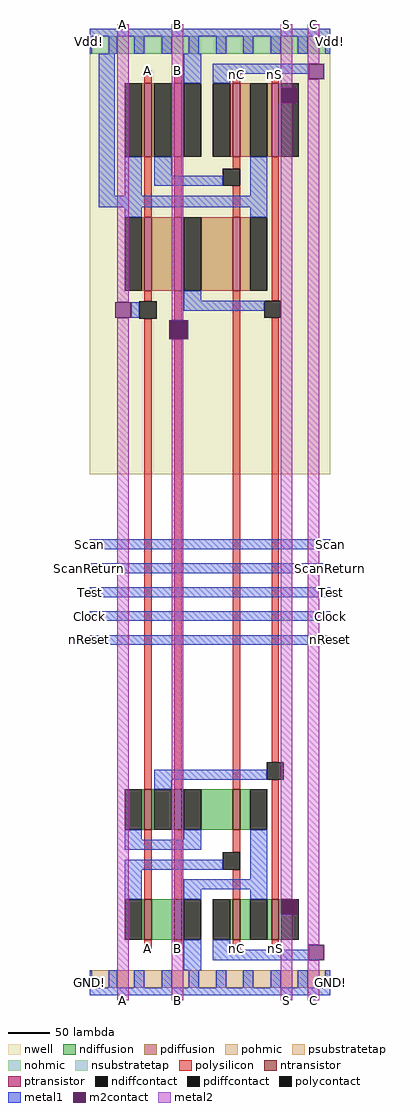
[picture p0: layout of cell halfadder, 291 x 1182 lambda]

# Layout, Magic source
magic
tech tsmc180
<< nwell >>
rect 0 637 291 1176
<< polysilicon >>
rect 66 1110 75 1126
rect 102 1110 111 1126
rect 173 1110 182 1121
rect 220 1110 229 1121
rect 66 948 75 1021
rect 102 948 111 1021
rect 173 1007 182 1021
rect 173 948 182 986
rect 66 846 75 859
rect 66 255 75 825
rect 102 823 111 859
rect 102 255 111 800
rect 173 255 182 859
rect 220 847 229 1021
rect 220 288 229 826
rect 66 122 75 206
rect 102 122 111 206
rect 173 179 182 206
rect 173 122 182 158
rect 220 122 229 267
rect 66 62 75 73
rect 102 62 111 73
rect 173 62 182 73
rect 220 62 229 73
<< ndiffusion >>
rect 63 206 66 255
rect 75 206 78 255
rect 99 206 102 255
rect 111 206 114 255
rect 135 206 173 255
rect 182 206 194 255
rect 63 73 66 122
rect 75 73 102 122
rect 111 73 114 122
rect 170 73 173 122
rect 182 73 194 122
rect 215 73 220 122
rect 229 73 232 122
<< pdiffusion >>
rect 63 1021 66 1110
rect 75 1021 78 1110
rect 99 1021 102 1110
rect 111 1021 114 1110
rect 170 1021 173 1110
rect 182 1021 194 1110
rect 215 1021 220 1110
rect 229 1021 232 1110
rect 63 859 66 948
rect 75 859 102 948
rect 111 859 114 948
rect 135 859 173 948
rect 182 859 194 948
<< pohmic >>
rect 0 15 2 36
rect 23 15 33 36
rect 54 15 66 36
rect 87 15 99 36
rect 120 15 132 36
rect 153 15 165 36
rect 186 15 198 36
rect 219 15 231 36
rect 252 15 264 36
rect 285 15 291 36
<< nohmic >>
rect 0 1146 2 1167
rect 23 1146 33 1167
rect 54 1146 66 1167
rect 87 1146 99 1167
rect 120 1146 132 1167
rect 153 1146 165 1167
rect 186 1146 198 1167
rect 219 1146 231 1167
rect 252 1146 264 1167
rect 285 1146 291 1167
<< ntransistor >>
rect 66 206 75 255
rect 102 206 111 255
rect 173 206 182 255
rect 66 73 75 122
rect 102 73 111 122
rect 173 73 182 122
rect 220 73 229 122
<< ptransistor >>
rect 66 1021 75 1110
rect 102 1021 111 1110
rect 173 1021 182 1110
rect 220 1021 229 1110
rect 66 859 75 948
rect 102 859 111 948
rect 173 859 182 948
<< polycontact >>
rect 161 986 182 1007
rect 60 825 81 846
rect 96 800 119 823
rect 211 826 232 847
rect 214 267 235 288
rect 161 158 182 179
<< ndiffcontact >>
rect 42 206 63 255
rect 78 206 99 255
rect 114 206 135 255
rect 194 206 215 255
rect 42 73 63 122
rect 114 73 135 122
rect 149 73 170 122
rect 194 73 215 122
rect 232 73 253 122
<< pdiffcontact >>
rect 42 1021 63 1110
rect 78 1021 99 1110
rect 114 1021 135 1110
rect 149 1021 170 1110
rect 194 1021 215 1110
rect 232 1021 253 1110
rect 42 859 63 948
rect 114 859 135 948
rect 194 859 215 948
<< psubstratetap >>
rect 2 15 23 36
rect 33 15 54 36
rect 66 15 87 36
rect 99 15 120 36
rect 132 15 153 36
rect 165 15 186 36
rect 198 15 219 36
rect 231 15 252 36
rect 264 15 285 36
<< nsubstratetap >>
rect 2 1146 23 1167
rect 33 1146 54 1167
rect 66 1146 87 1167
rect 99 1146 120 1167
rect 132 1146 153 1167
rect 165 1146 186 1167
rect 198 1146 219 1167
rect 231 1146 252 1167
rect 264 1146 285 1167
<< metal1 >>
rect 0 1167 291 1176
rect 0 1146 2 1167
rect 23 1146 33 1167
rect 54 1146 66 1167
rect 87 1146 99 1167
rect 120 1146 132 1167
rect 153 1146 165 1167
rect 186 1146 198 1167
rect 219 1146 231 1167
rect 252 1146 264 1167
rect 285 1146 291 1167
rect 11 974 30 1146
rect 114 1110 135 1146
rect 42 974 63 1021
rect 149 1122 265 1134
rect 149 1110 170 1122
rect 78 998 99 1021
rect 78 986 161 998
rect 194 974 215 1021
rect 11 960 215 974
rect 42 948 63 960
rect 194 948 215 960
rect 114 847 135 859
rect 50 826 60 845
rect 114 835 211 847
rect 0 546 291 558
rect 0 517 291 529
rect 0 488 291 500
rect 0 459 291 471
rect 0 430 291 442
rect 78 267 214 279
rect 78 255 99 267
rect 42 194 63 206
rect 114 194 135 206
rect 42 182 135 194
rect 42 158 161 170
rect 42 122 63 158
rect 194 146 215 206
rect 114 134 215 146
rect 114 122 135 134
rect 194 122 215 134
rect 114 36 135 73
rect 149 61 170 73
rect 149 48 265 61
rect 0 15 2 36
rect 23 15 33 36
rect 54 15 66 36
rect 87 15 99 36
rect 120 15 132 36
rect 153 15 165 36
rect 186 15 198 36
rect 219 15 231 36
rect 252 15 264 36
rect 285 15 291 36
rect 0 6 291 15
<< m2contact >>
rect 265 1115 284 1134
rect 231 1086 232 1105
rect 232 1086 250 1105
rect 31 826 50 845
rect 96 800 119 823
rect 231 103 232 122
rect 232 103 250 122
rect 265 48 284 67
<< metal2 >>
rect 33 845 47 1182
rect 33 0 47 826
rect 99 823 113 1182
rect 231 1105 245 1182
rect 264 1134 278 1182
rect 264 1115 265 1134
rect 99 0 113 800
rect 231 122 245 1086
rect 231 0 245 103
rect 264 67 278 1115
rect 264 48 265 67
rect 264 0 278 48
<< labels >>
rlabel metal1 0 6 0 36 3 GND!
rlabel metal1 0 1146 0 1176 3 Vdd!
rlabel polysilicon 70 62 70 62 1 A
rlabel metal2 106 62 106 62 1 B
rlabel polysilicon 177 62 177 62 1 nC
rlabel polysilicon 225 62 225 62 1 nS
rlabel metal2 99 0 113 0 1 B
rlabel polysilicon 70 1126 70 1126 1 A
rlabel metal2 106 1126 106 1126 1 B
rlabel polysilicon 224 1121 224 1121 1 nS
rlabel polysilicon 177 1121 177 1121 1 nC
rlabel metal2 99 1182 113 1182 5 B
rlabel metal2 33 1182 47 1182 5 A
rlabel metal2 33 0 47 0 1 A
rlabel metal2 231 1182 245 1182 5 S
rlabel metal2 231 0 245 0 1 S
rlabel metal2 264 0 278 0 1 C
rlabel metal2 264 1182 278 1182 5 C
rlabel metal1 291 1146 291 1176 7 Vdd!
rlabel metal1 291 6 291 36 7 GND!
rlabel metal1 291 546 291 558 7 Scan
rlabel metal1 291 488 291 500 7 Test
rlabel metal1 291 459 291 471 7 Clock
rlabel metal1 291 430 291 442 7 nReset
rlabel metal1 291 517 291 529 7 ScanReturn
rlabel metal1 0 517 0 529 3 ScanReturn
rlabel metal1 0 546 0 558 3 Scan
rlabel metal1 0 430 0 442 3 nReset
rlabel metal1 0 459 0 471 3 Clock
rlabel metal1 0 488 0 500 3 Test
<< end >>
